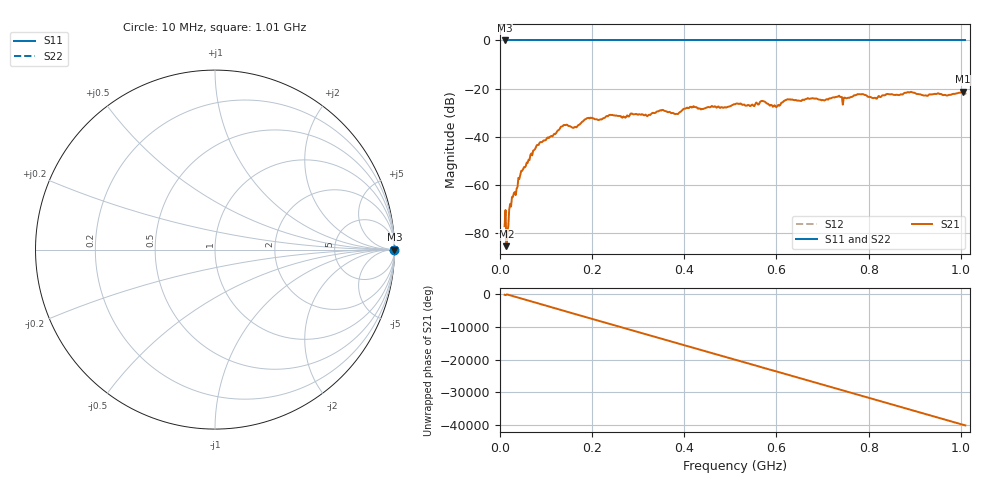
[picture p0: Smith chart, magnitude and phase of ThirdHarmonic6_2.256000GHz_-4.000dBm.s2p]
! 8/17/2025 2:44:50 AM
! C:\ANRITSUVNA\TEMP\TEMP.S2P
! CHANNEL.1
! TR.MEASUREMENT
! RAW.DATA
! RF.CORRECTION.OFF
! AVERAGING.OFF
! IF.BANDWIDTH: 5KHZ
! SWEEPTYPE:  FREQ.SWEEP(Linear)
! Reference Plane Port Info
! PORT:  PORT1  PORT2
! DISTANCE:  0  m  0  m
! TIME:  0  s  0  s
! PHASE.OFFSET:  0  deg.  0  deg.
! LOSS:  0  dB  0  dB
! REF.LOSS:  0  dB  0  dB
! REF.FREQ:  0  Hz  0  Hz
! Power Info
! POWER:  -20  dBm  -20  dBm
! EFF.POWER:  -20  dBm  -20  dBm
! SOURCE.ATTEN:  0  dB  0  dB
! TEST.ATTEN:  0  dB  0  dB
# GHZ S RI R 50.0
! FREQ.GHZ  S11RE  S11IM  S21RE  S21IM  S12RE  S12IM  S22RE  S22IM
!; PortSelection: Port_12
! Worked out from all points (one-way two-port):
!   501 points, 10 MHz to 1.01 GHz, reference 50 ohm
!   highest |S21| = -21.32 dB at 1.004 GHz (marker M1); lowest = -85.4 dB at 14 MHz (marker M2)
!   lowest |S11| = 0.0 dB at 10 MHz (marker M3)
!   |S11| at or under -10 dB: nowhere
!   |S22| runs from 0.0 to 0.0 dB; largest |S21 - S12| = 1.1
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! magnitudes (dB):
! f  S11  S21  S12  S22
! 10 MHz  0.0  -77.1  0.0  0.0
! 14 MHz  0.0  -85.4  0.0  0.0
! 18 MHz  0.0  -77.1  0.0  0.0
! 24 MHz  0.0  -69.0  0.0  0.0
! 44 MHz  0.0  -55.9  0.0  0.0
! 76 MHz  0.0  -45.1  0.0  0.0
! 136 MHz  0.0  -35.6  0.0  0.0
! 162 MHz  0.0  -36.0  0.0  0.0
! 178 MHz  0.0  -33.8  0.0  0.0
! 344 MHz  0.0  -29.4  0.0  0.0
! 382 MHz  0.0  -30.5  0.0  0.0
! 416 MHz  0.0  -27.8  0.0  0.0
! 510 MHz  0.0  -26.5  0.0  0.0
! 570 MHz  0.0  -25.1  0.0  0.0
! 596 MHz  0.0  -26.9  0.0  0.0
! 624 MHz  0.0  -24.4  0.0  0.0
! 678 MHz  0.0  -24.0  0.0  0.0
! 784 MHz  0.0  -22.4  0.0  0.0
! 814 MHz  0.0  -23.8  0.0  0.0
! 844 MHz  0.0  -22.3  0.0  0.0
! 1.004 GHz  0.0  -21.3  0.0  0.0
! 1.01 GHz  0.0  -22.0  0.0  0.0
